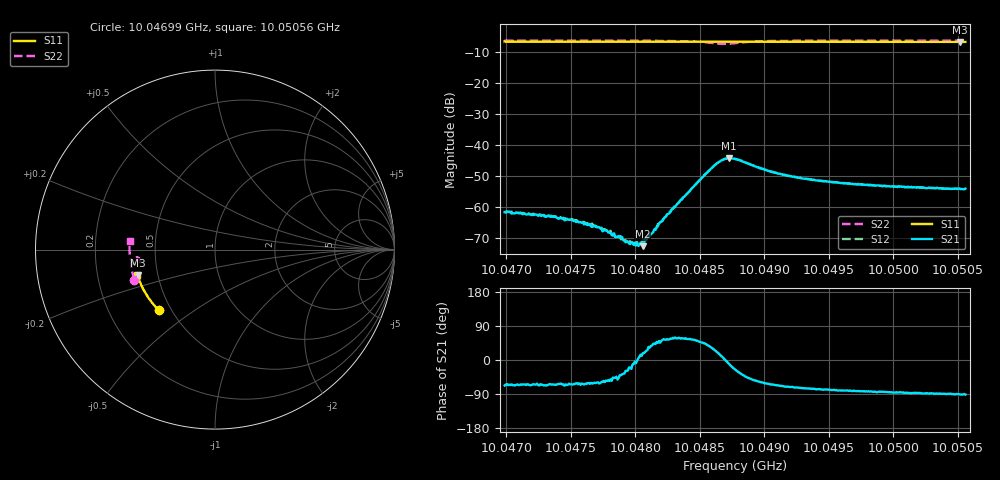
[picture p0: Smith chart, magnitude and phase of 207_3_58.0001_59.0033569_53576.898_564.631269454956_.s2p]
#  HZ  S  RI  R  50.00
! Rohde & Schwarz Vector Network Analyzer
! Rohde-Schwarz,ZNB20-2Port,1311601062101988,3.16
! Created: UTC 3/21/2024, 12:59:36 AM
! freq[Hz]  re:S11  im:S11  re:S21  im:S21  re:S12  im:S12  re:S22  im:S22
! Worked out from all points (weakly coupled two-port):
!   401 points, 10.04699 GHz to 10.05056 GHz, reference 50 ohm
!   highest |S21| = -44.40 dB at 10.04873 GHz (marker M1); lowest = -72.8 dB at 10.04806 GHz (marker M2)
!   lowest |S11| = -6.9 dB at 10.05051 GHz (marker M3), VSWR 2.66, Z = 19.2 - j6.87 ohm
!   |S11| at or under -10 dB: nowhere
!   |S22| runs from -7.5 to -6.4 dB; largest |S21 - S12| = 0.00044
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1.0046988e10  -0.312 -0.339  0.000313 -0.000752  0.000424 -0.000729  -0.4486 -0.1693
1.0047372e10  -0.3296 -0.3205  0.000286 -0.000616  0.000322 -0.000618  -0.4563 -0.1441
1.0047586e10  -0.3391 -0.3099  0.000257 -0.000487  0.000271 -0.000478  -0.4602 -0.1294
1.0047702e10  -0.344 -0.3042  0.00024 -0.000412  0.000255 -0.000383  -0.462 -0.1212
1.0047791e10  -0.3477 -0.2994  0.000229 -0.000305  0.000279 -0.000313  -0.4632 -0.1145
1.0047836e10  -0.3495 -0.2971  0.000252 -0.000275  0.000243 -0.000255  -0.4637 -0.1112
1.004788e10  -0.3514 -0.2946  0.000243 -0.000204  0.000252 -0.000222  -0.4642 -0.1078
1.0047943e10  -0.354 -0.2916  0.000238 -0.000128  0.000248 -0.000112  -0.4648 -0.1029
1.0047996e10  -0.3563 -0.2888  0.000239 -2e-05  0.000261 -2.45e-05  -0.4654 -0.0988
1.0048023e10  -0.3573 -0.2872  0.000231 1.7e-05  0.000254 4.4e-05  -0.4656 -0.0964
1.0048041e10  -0.3579 -0.2864  0.000254 6.35e-05  0.000244 5.46e-05  -0.4656 -0.095
1.0048059e10  -0.3586 -0.2854  0.000219 7.17e-05  0.000274 9.87e-05  -0.4658 -0.0935
1.0048184e10  -0.3634 -0.2788  0.000345 0.000407  0.000316 0.000408  -0.466 -0.0824
1.0048594e10  -0.3785 -0.2561  0.00359 0.00222  0.00348 0.00246  -0.4352 -0.043
1.0048666e10  -0.3808 -0.2522  0.00543 0.00103  0.00542 0.00136  -0.4199 -0.0528
1.0048728e10  -0.383 -0.2489  0.00592 -0.00112  0.00602 -0.000746  -0.4186 -0.0703
1.0048773e10  -0.3844 -0.2466  0.00532 -0.00247  0.00553 -0.00218  -0.4263 -0.0797
1.0049067e10  -0.3945 -0.2298  0.00151 -0.00326  0.00172 -0.00321  -0.4663 -0.0623
1.0049371e10  -0.4038 -0.2121  0.00065 -0.00261  0.000828 -0.00261  -0.4742 -0.035
1.0049969e10  -0.4198 -0.1761  0.000177 -0.00212  0.000319 -0.0021  -0.4766 0.00963
1.0050513e10  -0.4314 -0.1422  -1.86e-05 -0.00195  0.000103 -0.00194  -0.4743 0.047
1.0050558e10  -0.4324 -0.1394  -3.66e-05 -0.00196  9.09e-05 -0.0019  -0.4739 0.0502
